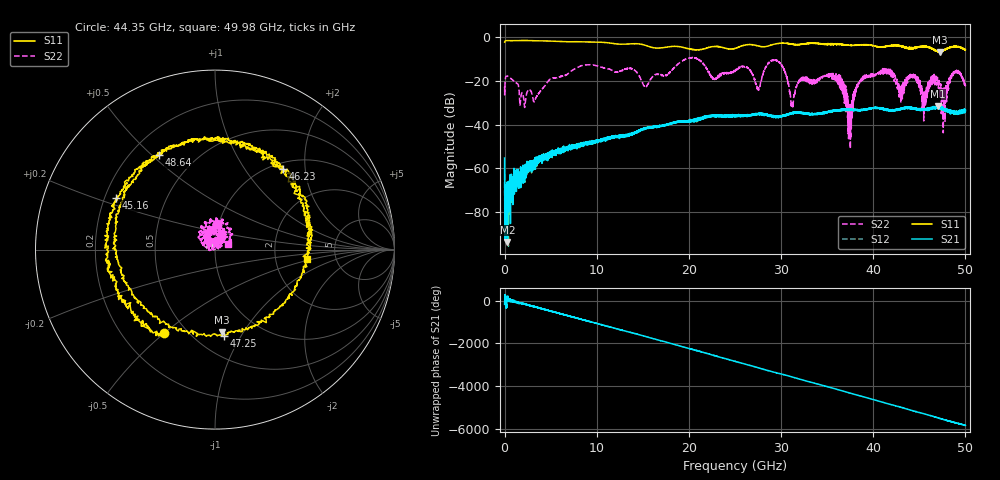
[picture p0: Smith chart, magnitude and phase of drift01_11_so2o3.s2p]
!Created with skrf (http://scikit-rf.org).
# Hz S RI R 50.0
!freq ReS11 ImS11 ReS21 ImS21 ReS12 ImS12 ReS22 ImS22
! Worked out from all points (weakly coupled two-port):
!   10001 points, 300 kHz to 50 GHz, reference 50 ohm
!   highest |S21| = -31.46 dB at 47 GHz (marker M1); lowest = -93.7 dB at 300.3 MHz (marker M2)
!   lowest |S11| = -6.7 dB at 47.24 GHz (marker M3), VSWR 2.72, Z = 34.7 - j40.7 ohm
!   |S11| at or under -10 dB: nowhere
!   |S22| runs from -51.0 to -9.2 dB; largest |S21 - S12| = 0.0041
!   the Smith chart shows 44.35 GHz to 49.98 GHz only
!   S11 on the Smith chart (normalised r, x): 44.35 GHz: 0.38, -0.50; 45.16 GHz: 0.25, +0.23; 46.23 GHz: 1.12, +1.52; 47.25 GHz: 0.68, -0.85; 48.64 GHz: 0.31, +0.53; 49.98 GHz: 3.07, -0.42
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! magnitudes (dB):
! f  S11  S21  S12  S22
! 300 kHz  -2.1  -55.3  -62.6  -22.5
! 300.3 MHz  -1.4  -93.7  -74.5  -17.7
! 3.285 GHz  -1.5  -56.3  -58.6  -28.9
! 8.335 GHz  -1.9  -49.3  -49.4  -12.9
! 16.67 GHz  -4.9  -40.7  -40.7  -16.7
! 25 GHz  -5.0  -35.9  -36.1  -15.6
! 29.58 GHz  -2.8  -36.3  -36.6  -10.6
! 31.23 GHz  -3.1  -34.8  -34.8  -30.8
! 33.34 GHz  -2.6  -35.2  -35.1  -20.2
! 36.08 GHz  -3.1  -33.3  -33.6  -18.0
! 37.47 GHz  -3.6  -33.2  -33.2  -32.0
! 38.65 GHz  -3.4  -33.2  -33.3  -20.1
! 41.67 GHz  -3.9  -33.4  -33.4  -15.9
! 44.35 GHz  -5.3  -32.7  -32.4  -17.0
! 45.16 GHz  -4.2  -33.0  -32.9  -24.4
! 46.23 GHz  -4.7  -32.2  -32.3  -20.4
! 47 GHz  -6.5  -31.5  -31.8  -19.4
! 47.24 GHz  -6.7  -31.8  -32.0  -27.3
! 47.25 GHz  -6.3  -32.5  -32.3  -26.0
! 48.64 GHz  -4.3  -34.1  -34.7  -17.3
! 49.98 GHz  -5.8  -33.1  -33.2  -21.9
! 50 GHz  -5.5  -33.7  -33.6  -21.9
